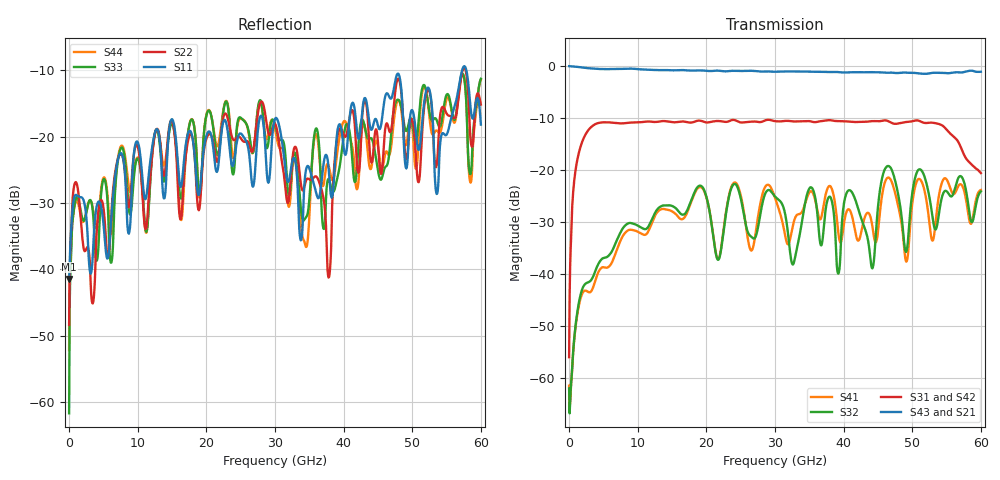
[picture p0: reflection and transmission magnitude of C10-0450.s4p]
! MARKI MICROWAVE INC.
! Email:  info@markimicrowave.com  Phone:  408-778-4200
! Model Number:  C10-0450  Date:  11/12
! Filename:		C10_0450.S4P  Version: 1.0
! Description:  4-port S-parameter data for Directional Coupler C10-0450
! Frequency Range: 	10 MHz to 60 GHz
! Port Configuration:	PORT 1: Input
!  PORT 2: Output
!  Port 3: Coupled
!  Port 4: Isolated
! S4P File: Measurements: Mag<S11> Ang<S11> Mag<S12> Ang<S12> Mag<S13> Ang<S13> Mag<S14> Ang<S14>! row 1
!  Mag<S21> Ang<S21> Mag<S22> Ang<S22> Mag<S23> Ang<S23> Mag<S24> Ang<S24>! row 2
!  Mag<S31> Ang<S31> Mag<S32> Ang<S32> Mag<S33> Ang<S33> Mag<S34> Ang<S34>! row 3
!  Mag<S41> Ang<S41> Mag<S42> Ang<S42> Mag<S43> Ang<S43> Mag<S44> Ang<S44>! row 4
# GHz S DB R 50
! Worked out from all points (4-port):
!   801 points, 10 MHz to 60 GHz, reference 50 ohm
!   strongest paths, dB at 10 MHz, 15.01 GHz, 30.01 GHz, 45.01 GHz, 60 GHz:
!     S43: 0.0, -0.8, -1.1, -1.2, -1.1
!     S21: 0.0, -0.9, -1.1, -1.3, -1.1
!     S31: -56.0, -10.8, -10.6, -10.6, -20.6
!     S42: -54.1, -10.8, -10.7, -10.6, -20.8
!     S32: -62.0, -26.9, -25.1, -27.1, -24.1
!     S41: -61.5, -28.0, -25.4, -31.8, -23.9
!   lowest |S11| = -41.4 dB at 10 MHz (marker M1), VSWR 1.02, Z = 50.5 - j0.693 ohm
!   |S11| at or under -10 dB: start of sweep to 57.26 GHz; 57.88 GHz to end of sweep
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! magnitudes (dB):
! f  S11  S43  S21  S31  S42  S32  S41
! 10 MHz  -41.4  0.0  0.0  -56.0  -54.1  -62.0  -61.5
! 985 MHz  -28.8  -0.1  -0.1  -19.7  -19.7  -49.5  -49.8
! 4.06 GHz  -30.3  -0.5  -0.5  -11.0  -11.0  -38.7  -40.3
! 28.06 GHz  -16.9  -1.0  -1.2  -10.7  -10.8  -27.1  -25.3
! 37.88 GHz  -25.7  -1.1  -1.2  -10.4  -10.5  -25.2  -23.1
! 41.11 GHz  -15.4  -1.2  -1.3  -10.7  -10.7  -24.1  -28.3
! 60 GHz  -18.2  -1.1  -1.1  -20.6  -20.8  -24.1  -23.9
